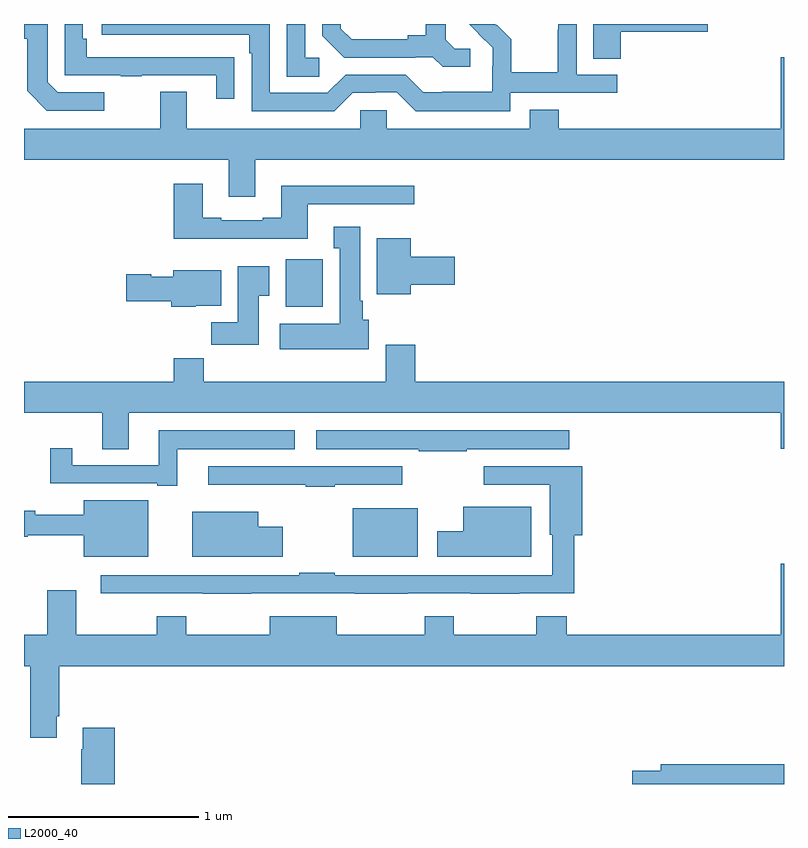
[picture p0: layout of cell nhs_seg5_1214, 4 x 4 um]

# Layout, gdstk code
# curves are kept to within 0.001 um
import gdstk
lib = gdstk.Library(unit=1e-6, precision=1e-09)
def R(c, l, rs):  # rectangles x0, y0, x1, y1
    for r in rs: c.add(gdstk.rectangle(r[:2], r[2:], *l))
def P(c, l, *ps):  # polygons
    for p in ps: c.add(gdstk.Polygon(p, *l))
L2000_40 = (2000, 40)

nhs_seg5_1214 = lib.new_cell('nhs_seg5_1214')
R(nhs_seg5_1214, L2000_40, [(186.731,863.996,187.072,864.25), (186.377,865.31,186.573,865.561)])
P(nhs_seg5_1214, L2000_40, [(186.553,866.622),(186.48,866.622),(186.48,866.799),(186.384,866.799),(186.384,866.521),(186.553,866.521)],
  [(185.422,866.439),(185.178,866.439),(185.124,866.493),(185.124,866.799),(185,866.799),(185,866.722),(185.016,866.722),(185.016,866.449),(185.121,866.343),(185.422,866.343)],
  [(188.141,866.759),(188.599,866.759),(188.599,866.799),(187.997,866.799),(187.997,866.617),(188.141,866.617)],
  [(187.348,866.67),(187.266,866.67),(187.219,866.717),(187.219,866.799),(187.115,866.799),(187.115,866.741),(187.019,866.741),(187.019,866.718),(186.724,866.718),(186.667,866.775),(186.667,866.799),(186.57,866.799),(186.57,866.738),(186.686,866.622),(187.058,866.622),(187.058,866.625),(187.152,866.625),(187.204,866.573),(187.348,866.573)],
  [(187.56,866.436),(188.122,866.436),(188.122,866.532),(187.908,866.532),(187.908,866.799),(187.812,866.799),(187.812,866.768),(187.81,866.768),(187.81,866.545),(187.565,866.545),(187.565,866.719),(187.488,866.796),(187.485,866.793),(187.479,866.799),(187.343,866.799),(187.466,866.674),(187.466,866.577),(187.464,866.577),(187.464,866.443),(187.201,866.443),(187.201,866.439),(187.101,866.439),(187.008,866.532),(186.693,866.532),(186.597,866.436),(186.294,866.436),(186.294,866.799),(185.409,866.799),(185.409,866.742),(186.185,866.742),(186.185,866.645),(186.198,866.645),(186.198,866.34),(186.633,866.34),(186.729,866.436),(186.848,866.436),(186.848,866.439),(186.963,866.439),(187.063,866.339),(187.56,866.339)],
  [(186.107,866.624),(186.005,866.624),(186.005,866.625),(185.33,866.625),(185.33,866.722),(185.31,866.722),(185.31,866.799),(185.214,866.799),(185.214,866.529),(185.509,866.529),(185.509,866.524),(185.621,866.524),(185.621,866.529),(186.011,866.529),(186.011,866.406),(186.107,866.406)],
  [(186.217,866.084),(189,866.084),(189,866.623),(188.984,866.623),(188.984,866.248),(187.814,866.248),(187.814,866.347),(187.661,866.347),(187.661,866.248),(186.909,866.248),(186.909,866.346),(186.771,866.346),(186.771,866.248),(185.857,866.248),(185.857,866.443),(185.717,866.443),(185.717,866.248),(185,866.248),(185,866.084),(186.077,866.084),(186.077,865.89),(186.217,865.89)],
  [(186.493,865.851),(187.054,865.851),(187.054,865.948),(186.353,865.948),(186.353,865.78),(186.257,865.78),(186.257,865.767),(186.037,865.767),(186.037,865.78),(185.941,865.78),(185.941,865.957),(185.789,865.957),(185.789,865.67),(186.493,865.67)],
  [(186.814,865.242),(186.784,865.242),(186.784,865.342),(186.769,865.342),(186.769,865.732),(186.629,865.732),(186.629,865.619),(186.662,865.619),(186.662,865.222),(186.345,865.222),(186.345,865.088),(186.814,865.088)],
  [(187.036,865.427),(187.267,865.427),(187.267,865.574),(187.036,865.574),(187.036,865.672),(186.857,865.672),(186.857,865.376),(187.036,865.376)],
  [(186.235,865.369),(186.292,865.369),(186.292,865.525),(186.125,865.525),(186.125,865.228),(185.986,865.228),(185.986,865.11),(186.235,865.11)],
  [(185.904,865.316),(186.037,865.316),(186.037,865.504),(185.786,865.504),(185.786,865.468),(185.67,865.468),(185.67,865.481),(185.538,865.481),(185.538,865.339),(185.774,865.339),(185.774,865.31),(185.904,865.31)],
  [(185.551,864.752),(188.984,864.752),(188.984,864.564),(189,864.564),(189,864.916),(187.058,864.916),(187.058,865.111),(186.905,865.111),(186.905,864.916),(185.945,864.916),(185.945,865.04),(185.789,865.04),(185.789,864.916),(185,864.916),(185,864.752),(185.411,864.752),(185.411,864.562),(185.551,864.562)],
  [(185.806,864.56),(186.424,864.56),(186.424,864.661),(185.708,864.661),(185.708,864.477),(185.254,864.477),(185.254,864.565),(185.137,864.565),(185.137,864.381),(185.702,864.381),(185.702,864.369),(185.806,864.369)],
  [(187.331,864.56),(187.87,864.56),(187.87,864.661),(186.537,864.661),(186.537,864.56),(187.078,864.56),(187.078,864.55),(187.331,864.55)],
  [(186.635,864.375),(186.991,864.375),(186.991,864.471),(185.97,864.471),(185.97,864.374),(186.328,864.374),(186.328,864.373),(186.482,864.373),(186.482,864.363),(186.635,864.363)],
  [(186.197,863.802),(186.742,863.802),(186.742,863.801),(187.019,863.801),(187.019,863.802),(187.351,863.802),(187.351,863.801),(187.607,863.801),(187.607,863.802),(187.895,863.802),(187.895,864.107),(187.937,864.107),(187.937,864.471),(187.419,864.471),(187.419,864.375),(187.766,864.375),(187.766,864.111),(187.779,864.111),(187.779,863.898),(186.635,863.898),(186.635,863.911),(186.448,863.911),(186.448,863.898),(185.403,863.898),(185.403,863.802),(185.941,863.802),(185.941,863.801),(186.197,863.801)],
  [(185.653,864.292),(185.315,864.292),(185.315,864.217),(185.06,864.217),(185.06,864.236),(185,864.236),(185,864.1),(185.019,864.1),(185.019,864.108),(185.315,864.108),(185.315,863.996),(185.653,863.996)],
  [(187.669,864.259),(187.313,864.259),(187.313,864.129),(187.176,864.129),(187.176,863.996),(187.669,863.996)],
  [(186.361,864.154),(186.232,864.154),(186.232,864.232),(185.885,864.232),(185.885,863.996),(186.361,863.996)],
  [(185.173,863.155),(185.186,863.155),(185.186,863.42),(189,863.42),(189,863.959),(188.984,863.959),(188.984,863.584),(187.856,863.584),(187.856,863.683),(187.696,863.683),(187.696,863.584),(187.263,863.584),(187.263,863.683),(187.108,863.683),(187.108,863.584),(186.646,863.584),(186.646,863.683),(186.293,863.683),(186.293,863.584),(185.853,863.584),(185.853,863.683),(185.698,863.683),(185.698,863.584),(185.275,863.584),(185.275,863.818),(185.123,863.818),(185.123,863.584),(185,863.584),(185,863.42),(185.033,863.42),(185.033,863.043),(185.173,863.043)],
  [(185.477,863.095),(185.309,863.095),(185.309,862.982),(185.302,862.982),(185.302,862.799),(185.477,862.799)],
  [(189,862.904),(188.351,862.904),(188.351,862.868),(188.202,862.868),(188.202,862.799),(189,862.799)])

lib.write_gds('nhs_seg5_1214.gds')
